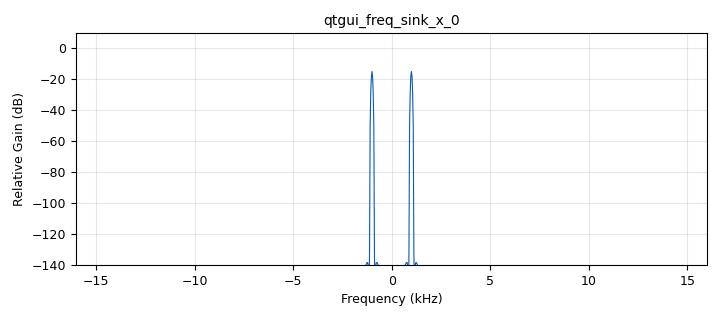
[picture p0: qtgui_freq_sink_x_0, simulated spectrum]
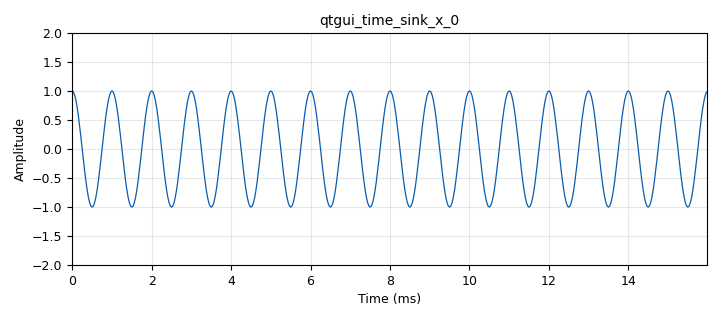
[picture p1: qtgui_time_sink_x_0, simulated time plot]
<?xml version='1.0' encoding='utf-8'?>
<?grc format='1' created='3.7.11'?>
<flow_graph>
<block>
<key>options</key>
<param><key>id</key><value>top_block</value></param>
<param><key>generate_options</key><value>qt_gui</value></param>
<param><key>title</key><value>First contact with GNU Radio</value></param>
</block>
<block>
<key>variable_qtgui_range</key>
<param><key>id</key><value>frequency</value></param>
<param><key>value</key><value>1e3</value></param>
<param><key>gui_hint</key><value>0,0,1,1</value></param>
<param><key>label</key><value>Frequency (Hz)</value></param>
<param><key>orient</key><value>Qt.Horizontal</value></param>
<param><key>start</key><value>0</value></param>
<param><key>step</key><value>100</value></param>
<param><key>stop</key><value>10e3</value></param>
</block>
<block>
<key>variable_qtgui_range</key>
<param><key>id</key><value>noise</value></param>
<param><key>value</key><value>0</value></param>
<param><key>gui_hint</key><value>0,1,1,1</value></param>
<param><key>label</key><value>Noise (V)</value></param>
<param><key>orient</key><value>Qt.Horizontal</value></param>
<param><key>start</key><value>0</value></param>
<param><key>step</key><value>0.01</value></param>
<param><key>stop</key><value>1</value></param>
</block>
<block>
<key>variable</key>
<param><key>id</key><value>samp_rate</value></param>
<param><key>value</key><value>32e3</value></param>
</block>
<block>
<key>analog_fastnoise_source_x</key>
<param><key>id</key><value>analog_fastnoise_source_x_0</value></param>
<param><key>amp</key><value>noise</value></param>
<param><key>noise_type</key><value>analog.GR_GAUSSIAN</value></param>
<param><key>type</key><value>float</value></param>
<param><key>seed</key><value>0</value></param>
<param><key>samples</key><value>8192</value></param>
</block>
<block>
<key>analog_sig_source_x</key>
<param><key>id</key><value>analog_sig_source_x_0</value></param>
<param><key>amp</key><value>1</value></param>
<param><key>freq</key><value>frequency</value></param>
<param><key>offset</key><value>0</value></param>
<param><key>type</key><value>float</value></param>
<param><key>samp_rate</key><value>samp_rate</value></param>
<param><key>waveform</key><value>analog.GR_COS_WAVE</value></param>
</block>
<block>
<key>blocks_add_xx</key>
<param><key>id</key><value>blocks_add_xx_0</value></param>
<param><key>type</key><value>float</value></param>
</block>
<block>
<key>qtgui_freq_sink_x</key>
<param><key>id</key><value>qtgui_freq_sink_x_0</value></param>
<param><key>bw</key><value>samp_rate</value></param>
<param><key>fc</key><value>0</value></param>
<param><key>fftsize</key><value>1024</value></param>
<param><key>gui_hint</key><value>1,1,3,1</value></param>
<param><key>showports</key><value>True</value></param>
<param><key>type</key><value>float</value></param>
<param><key>wintype</key><value>firdes.WIN_BLACKMAN_hARRIS</value></param>
</block>
<block>
<key>qtgui_time_sink_x</key>
<param><key>id</key><value>qtgui_time_sink_x_0</value></param>
<param><key>gui_hint</key><value>1,0,3,1</value></param>
<param><key>color1</key><value>"blue"</value></param>
<param><key>label1</key><value></value></param>
<param><key>size</key><value>512</value></param>
<param><key>srate</key><value>samp_rate</value></param>
<param><key>type</key><value>float</value></param>
<param><key>ymax</key><value>2</value></param>
<param><key>ymin</key><value>-2</value></param>
</block>
<connection><source_block_id>analog_fastnoise_source_x_0</source_block_id><sink_block_id>blocks_add_xx_0</sink_block_id><source_key>0</source_key><sink_key>1</sink_key></connection>
<connection><source_block_id>analog_sig_source_x_0</source_block_id><sink_block_id>blocks_add_xx_0</sink_block_id><source_key>0</source_key><sink_key>0</sink_key></connection>
<connection><source_block_id>blocks_add_xx_0</source_block_id><sink_block_id>qtgui_freq_sink_x_0</sink_block_id><source_key>0</source_key><sink_key>0</sink_key></connection>
<connection><source_block_id>blocks_add_xx_0</source_block_id><sink_block_id>qtgui_time_sink_x_0</sink_block_id><source_key>0</source_key><sink_key>0</sink_key></connection>
</flow_graph>
